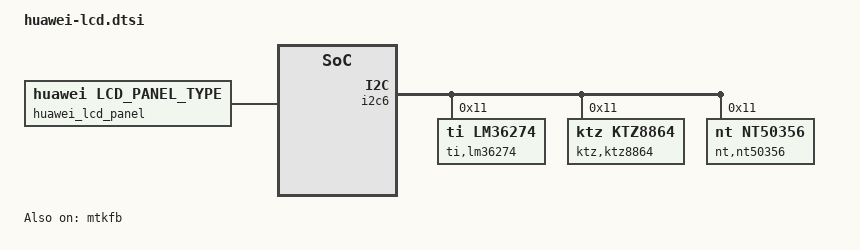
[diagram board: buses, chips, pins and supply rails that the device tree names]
#include "../lcdkit3.0/kob2/devkit_lcd_kit.dtsi"

&huawei_lcd_panel {
		compatible = "huawei,lcd_panel_type";
		product_id = <1005>;
		detect_type = <2>; /*0:DETECT_GPIOID  1:DETECT_CHIPID  2:DETECT_LCD_TYPE */
		gpio_id = <169 178>; /*ID0 ID1*/
		support_lcd_type = "LCD_KIT";
		/* param 1: iovcc ctrled by regulator(1), gpio(2)
		* param 2: if ergulator, means ldo num
		*          if gpio, means gpio id
		*/
		iovcc_lcd = <2 177>;
};

/* DISPSYS GPIO standardization */
&pio {
	mtkfb_pins_lcm_reset0: lcm_rst_out0_gpio {
		pins_cmd_dat {
			pinmux = <PINMUX_GPIO45__FUNC_GPIO45>;
			slew-rate = <1>;
			output-low;
		};
	};

	mtkfb_pins_lcm_reset1: lcm_rst_out1_gpio {
		pins_cmd_dat {
			pinmux = <PINMUX_GPIO45__FUNC_GPIO45>;
			slew-rate = <1>;
			output-high;
		};
	};
};

&mtkfb {
	pinctrl-names = "lcm_rst_out0_gpio", "lcm_rst_out1_gpio";
	pinctrl-0 = <&mtkfb_pins_lcm_reset0>;
	pinctrl-1 = <&mtkfb_pins_lcm_reset1>;
	status = "okay";
};

&i2c6{
	ti,lm36274@11{
		compatible = "ti,lm36274";
		lm36274_support = <1>;
		reg = <0x11>;
		lm36274_i2c_bus_id = <6>;
		lm36274_only_backlight = <1>;
		lm36274_hw_enable = <1>;
		lm36274_hw_en_pull_low = <1>;
		lm36274_hw_en_gpio = <170>;
		bl_on_lk_mdelay = <10>;
		bl_on_kernel_mdelay = <20>;
		bl_level = <725>;
		lm36274_bl_config_1 = <0x49>;
		lm36274_bl_config_2 = <0x85>;
		lm36274_bl_brightness_lsb = <0x00>;
		lm36274_bl_brightness_msb = <0x00>;
		lm36274_auto_freq_low = <0x00>;
		lm36274_auto_freq_high = <0x00>;
		lm36274_bl_en = <0x17>;
		lm36274_display_bias_config_1 = <0x19>;
		lm36274_display_bias_config_2 = <0x11>;
		lm36274_display_bias_config_3 = <0x00>;
		lm36274_lcm_boost_bias = <0x24>;
		lm36274_vpos_bias = <0x1E>;
		lm36274_vneg_bias = <0x1E>;
		lm36274_bl_option_1 = <0x46>;
		lm36274_bl_option_2 = <0x75>;
		lm36274_bl_max_level = <2048>;
		lm36274_hidden_reg_support = <1>;
		lm36274_extend_rev_support = <1>;
	};
	ktz,ktz8864@11{
		compatible = "ktz,ktz8864";
		ktz8864_support = <1>;
		reg = <0x11>;
		ktz8864_i2c_bus_id = <6>;
		ktz8864_only_backlight = <1>;
		ktz8864_hw_enable = <1>;
		ktz8864_hw_en_pull_low = <1>;
		ktz8864_hw_en_gpio = <170>;
		bl_on_lk_mdelay = <10>;
		bl_on_kernel_mdelay = <20>;
		bl_level = <725>;
		ktz8864_bl_config_1 = <0x49>;
		ktz8864_bl_config_2 = <0x85>;
		ktz8864_bl_brightness_lsb = <0x00>;
		ktz8864_bl_brightness_msb = <0x00>;
		ktz8864_auto_freq_low = <0x00>;
		ktz8864_auto_freq_high = <0x00>;
		ktz8864_bl_en = <0x17>;
		ktz8864_display_bias_config_1 = <0x19>;
		ktz8864_display_bias_config_2 = <0x11>;
		ktz8864_display_bias_config_3 = <0x00>;
		ktz8864_lcm_boost_bias = <0x24>;
		ktz8864_vpos_bias = <0x1E>;
		ktz8864_vneg_bias = <0x1E>;
		ktz8864_bl_option_1 = <0x46>;
		ktz8864_bl_option_2 = <0x75>;
		ktz8864_bl_max_level = <2048>;
		ktz8864_hidden_reg_support = <0>;
		ktz8864_pull_boost_support = <1>;
		ktz8864_pull_down_boost = <0x14>;
		ktz8864_enable_vsp_vsn = <0x99>;
		ktz8864_pull_up_boost = <0x24>;
	};
	nt,nt50356@11{
		compatible = "nt,nt50356";
		nt50356_support = <1>;
		reg = <0x11>;
		nt50356_i2c_bus_id = <6>;
		nt50356_only_backlight = <1>;
		nt50356_hw_enable = <1>;
		nt50356_hw_en_pull_low = <1>;
		nt50356_hw_en_gpio = <170>;
		bl_on_lk_mdelay = <10>;
		bl_on_kernel_mdelay = <20>;
		bl_level = <725>;
		nt50356_bl_config_1 = <0xE9>;
		nt50356_bl_config_2 = <0x85>;
		nt50356_bl_brightness_lsb = <0x00>;
		nt50356_bl_brightness_msb = <0x00>;
		nt50356_auto_freq_low = <0x00>;
		nt50356_auto_freq_high = <0x00>;
		nt50356_bl_en = <0x17>;
		nt50356_reg_config_e8 = <0x6f>;
		nt50356_reg_config_e9 = <0xde>;
		nt50356_reg_config_a9 = <0x29>;
		nt50356_display_bias_config_1 = <0x19>;
		nt50356_display_bias_config_2 = <0x11>;
		nt50356_display_bias_config_3 = <0x00>;
		nt50356_lcm_boost_bias = <0x24>;
		nt50356_vpos_bias = <0x1E>;
		nt50356_vneg_bias = <0x1E>;
		nt50356_bl_option_1 = <0x46>;
		nt50356_bl_option_2 = <0x75>;
		nt50356_bl_max_level = <2048>;
		nt50356_bl_current_config = <0x80>;
		nt50356_check_fault_support = <1>;
		nt50356_extend_rev_support = <1>;
		/* This modification solves the problem of VSP
		 * overshoot in the NT50356 power-off process
		 * support: nt50356_pull_boost_support = 1 */
		nt50356_pull_boost_support = <0>;
		nt50356_pull_down_vpos = <0x0E>;
		nt50356_pull_down_vneg = <0x0E>;
		nt50356_pull_down_boost = <0x14>;
		nt50356_enable_vsp_vsn = <0x99>;
		nt50356_pull_up_vpos = <0x1E>;
		nt50356_pull_up_vneg = <0x1E>;
		nt50356_pull_up_boost = <0x24>;
	};
};
